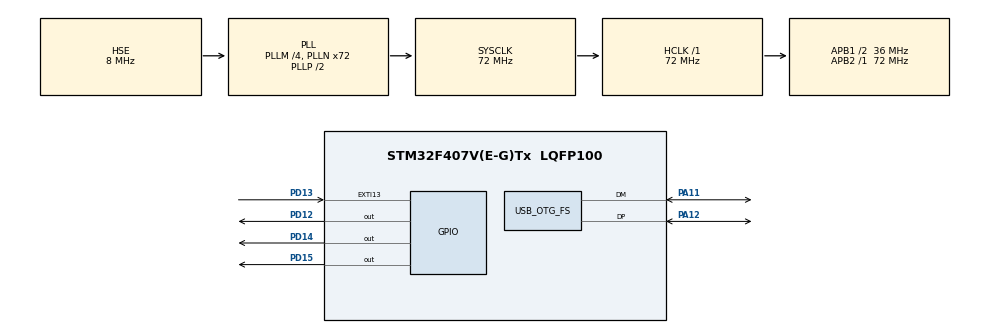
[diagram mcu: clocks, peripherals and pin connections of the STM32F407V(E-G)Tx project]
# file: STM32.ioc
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Mcu.Family=STM32F4
Mcu.Name=STM32F407V(E-G)Tx
Mcu.Package=LQFP100
NVIC.OTG_FS_IRQn=true\:0\:0\:false\:false\:true\:true\:true\:true
NVIC.PriorityGroup=NVIC_PRIORITYGROUP_0
PA11.Mode=Device_Only
PA11.Signal=USB_OTG_FS_DM
PA12.Mode=Device_Only
PA12.Signal=USB_OTG_FS_DP
PD12.Signal=GPIO_Output
PD13.Signal=GPXTI13
PD14.Signal=GPIO_Output
PD15.Signal=GPIO_Output
PH0-OSC_IN.Mode=HSE-External-Oscillator
PH0-OSC_IN.Signal=RCC_OSC_IN
PH1-OSC_OUT.Mode=HSE-External-Oscillator
PH1-OSC_OUT.Signal=RCC_OSC_OUT
ProjectManager.HeapSize=0x200
ProjectManager.StackSize=0x400
ProjectManager.TargetToolchain=CMake
RCC.48MHZClocksFreq_Value=48000000
RCC.AHBFreq_Value=72000000
RCC.APB1CLKDivider=RCC_HCLK_DIV2
RCC.APB1Freq_Value=36000000
RCC.APB1TimFreq_Value=72000000
RCC.APB2Freq_Value=72000000
RCC.APB2TimFreq_Value=72000000
RCC.CortexFreq_Value=72000000
RCC.HCLKFreq_Value=72000000
RCC.HSE_VALUE=8000000
RCC.HSI_VALUE=16000000
RCC.PLLM=4
RCC.PLLN=72
RCC.PLLQ=3
RCC.SYSCLKFreq_VALUE=72000000
RCC.SYSCLKSource=RCC_SYSCLKSOURCE_PLLCLK
RCC.VCOOutputFreq_Value=144000000
USB_DEVICE.CLASS_NAME_FS=CDC
USB_DEVICE.VirtualMode-CDC_FS=Cdc
USB_DEVICE.VirtualModeFS=Cdc_FS
USB_OTG_FS.VirtualMode=Device_Only
VP_USB_DEVICE_VS_USB_DEVICE_CDC_FS.Mode=CDC_FS
board=STM32F407G-DISC1

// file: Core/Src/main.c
/* USER CODE BEGIN Header */
/**
  ******************************************************************************
  * @file           : main.c
  * @brief          : Main program body
  ******************************************************************************
  * @attention
  *
  * Copyright (c) 2025 STMicroelectronics.
  * All rights reserved.
  *
  * This software is licensed under terms that can be found in the LICENSE file
  * in the root directory of this software component.
  * If no LICENSE file comes with this software, it is provided AS-IS.
  *
  ******************************************************************************
  */
/* USER CODE END Header */
#include "main.h"
#include "usb_device.h"

/* USER CODE BEGIN PV */
extern leds led[4];
extern volatile bool finish_flag;
extern int i;
/* USER CODE END PV */

void SystemClock_Config(void);
static void MX_GPIO_Init(void);
/* USER CODE BEGIN PFP */
void TogglePin(uint8_t GPIO_Pin);
/* USER CODE END PFP */

int main(void)
{

  /* MCU Configuration--------------------------------------------------------*/

  /* Reset of all peripherals, Initializes the Flash interface and the Systick. */
  HAL_Init();

  /* Configure the system clock */
  SystemClock_Config();

  /* Initialize all configured peripherals */
  MX_GPIO_Init();
  MX_USB_DEVICE_Init();
  /* USER CODE BEGIN 2 */
    while(1){
      if (finish_flag)
      {
        break;
      }
    }

    uint32_t last_times[4]={0};
  /* USER CODE END 2 */

  /* Infinite loop */
  while (1)
  {

    /* USER CODE BEGIN 3 */
        uint32_t currentTime = HAL_GetTick();
    for (uint32_t j=0;j<(uint32_t)i;j++){
      if(currentTime - last_times[j] >= led[j].time_ms){
        TogglePin(led[j].idx);
        last_times[j]=currentTime;
      }

    }
  }
  /* USER CODE END 3 */
}

void SystemClock_Config(void)
{
  RCC_OscInitTypeDef RCC_OscInitStruct = {0};
  RCC_ClkInitTypeDef RCC_ClkInitStruct = {0};

  /** Configure the main internal regulator output voltage
  */
  __HAL_RCC_PWR_CLK_ENABLE();
  __HAL_PWR_VOLTAGESCALING_CONFIG(PWR_REGULATOR_VOLTAGE_SCALE1);

  /** Initializes the RCC Oscillators according to the specified parameters
  * in the RCC_OscInitTypeDef structure.
  */
  RCC_OscInitStruct.OscillatorType = RCC_OSCILLATORTYPE_HSE;
  RCC_OscInitStruct.HSEState = RCC_HSE_ON;
  RCC_OscInitStruct.PLL.PLLState = RCC_PLL_ON;
  RCC_OscInitStruct.PLL.PLLSource = RCC_PLLSOURCE_HSE;
  RCC_OscInitStruct.PLL.PLLM = 4;
  RCC_OscInitStruct.PLL.PLLN = 72;
  RCC_OscInitStruct.PLL.PLLP = RCC_PLLP_DIV2;
  RCC_OscInitStruct.PLL.PLLQ = 3;
  if (HAL_RCC_OscConfig(&RCC_OscInitStruct) != HAL_OK)
  {
    Error_Handler();
  }

  /** Initializes the CPU, AHB and APB buses clocks
  */
  RCC_ClkInitStruct.ClockType = RCC_CLOCKTYPE_HCLK|RCC_CLOCKTYPE_SYSCLK
                              |RCC_CLOCKTYPE_PCLK1|RCC_CLOCKTYPE_PCLK2;
  RCC_ClkInitStruct.SYSCLKSource = RCC_SYSCLKSOURCE_PLLCLK;
  RCC_ClkInitStruct.AHBCLKDivider = RCC_SYSCLK_DIV1;
  RCC_ClkInitStruct.APB1CLKDivider = RCC_HCLK_DIV2;
  RCC_ClkInitStruct.APB2CLKDivider = RCC_HCLK_DIV1;

  if (HAL_RCC_ClockConfig(&RCC_ClkInitStruct, FLASH_LATENCY_2) != HAL_OK)
  {
    Error_Handler();
  }
}

static void MX_GPIO_Init(void)
{
  GPIO_InitTypeDef GPIO_InitStruct = {0};

  /* GPIO Ports Clock Enable */
  __HAL_RCC_GPIOH_CLK_ENABLE();
  __HAL_RCC_GPIOD_CLK_ENABLE();
  __HAL_RCC_GPIOA_CLK_ENABLE();

  /*Configure GPIO pin Output Level */
  HAL_GPIO_WritePin(GPIOD, GPIO_PIN_12|GPIO_PIN_13|GPIO_PIN_14|GPIO_PIN_15, GPIO_PIN_RESET);

  /*Configure GPIO pins : PD12 PD13 PD14 PD15 */
  GPIO_InitStruct.Pin = GPIO_PIN_12|GPIO_PIN_13|GPIO_PIN_14|GPIO_PIN_15;
  GPIO_InitStruct.Mode = GPIO_MODE_OUTPUT_PP;
  GPIO_InitStruct.Pull = GPIO_NOPULL;
  GPIO_InitStruct.Speed = GPIO_SPEED_FREQ_LOW;
  HAL_GPIO_Init(GPIOD, &GPIO_InitStruct);

}

/* USER CODE BEGIN 4 */
void TogglePin(uint8_t GPIO_Pin) {
    switch (GPIO_Pin) {
        case 1:
            HAL_GPIO_TogglePin(GPIOD, GPIO_PIN_14);
            break;
        case 2:
            HAL_GPIO_TogglePin(GPIOD, GPIO_PIN_12);
            break;
        case 3:
            HAL_GPIO_TogglePin(GPIOD, GPIO_PIN_15);
            break;
        case 4:
            HAL_GPIO_TogglePin(GPIOD, GPIO_PIN_13);
            break;
        default:
            break;
    }
}
/* USER CODE END 4 */

void Error_Handler(void)
{
  __disable_irq();
  while (1)
  {
  }
}
